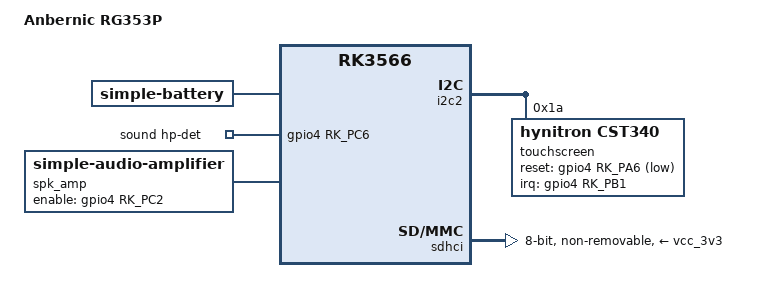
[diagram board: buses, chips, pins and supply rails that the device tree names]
// SPDX-License-Identifier: (GPL-2.0+ OR MIT)
/*
 * RexOS Device Tree for Anbernic RG353P
 *
 * Based on mainline Linux kernel device tree by Chris Morgan
 * Adapted for RexOS by the RexOS project
 *
 * RG353P specific hardware:
 * - Dual analog sticks (left and right)
 * - Thumbstick click buttons (L3/R3)
 * - 3472mAh battery
 * - eMMC storage (32GB)
 * - Touchscreen (Hynitron CST340)
 * - RK817 audio codec with speaker amplifier
 */

/dts-v1/;

#include <dt-bindings/gpio/gpio.h>
#include <dt-bindings/input/linux-event-codes.h>
#include <dt-bindings/pinctrl/rockchip.h>
#include "rk3566-anbernic-rg353x.dtsi"

/ {
	model = "Anbernic RG353P";
	compatible = "anbernic,rg353p", "rockchip,rk3566";

	aliases {
		mmc0 = &sdmmc0;
		mmc1 = &sdmmc1;
		mmc2 = &sdmmc2;
	};

	/* Battery configuration for RG353P (3472mAh) */
	battery: battery {
		compatible = "simple-battery";
		charge-full-design-microamp-hours = <3472000>;
		charge-term-current-microamp = <300000>;
		constant-charge-current-max-microamp = <2000000>;
		constant-charge-voltage-max-microvolt = <4200000>;
		factory-internal-resistance-micro-ohms = <117000>;
		voltage-max-design-microvolt = <4172000>;
		voltage-min-design-microvolt = <3400000>;

		ocv-capacity-celsius = <20>;
		ocv-capacity-table-0 =
			<4172000 100>, <4054000 95>, <3984000 90>, <3926000 85>,
			<3874000 80>, <3826000 75>, <3783000 70>, <3746000 65>,
			<3714000 60>, <3683000 55>, <3650000 50>, <3628000 45>,
			<3612000 40>, <3600000 35>, <3587000 30>, <3571000 25>,
			<3552000 20>, <3525000 15>, <3492000 10>, <3446000 5>,
			<3400000 0>;
	};

	/* Audio configuration */
	sound {
		compatible = "simple-audio-card";
		simple-audio-card,name = "rk817_ext";
		simple-audio-card,aux-devs = <&spk_amp>;
		simple-audio-card,format = "i2s";
		simple-audio-card,hp-det-gpios = <&gpio4 RK_PC6 GPIO_ACTIVE_HIGH>;
		simple-audio-card,mclk-fs = <256>;
		simple-audio-card,widgets =
			"Microphone", "Mic Jack",
			"Headphone", "Headphones",
			"Speaker", "Internal Speakers";
		simple-audio-card,routing =
			"MICL", "Mic Jack",
			"Headphones", "HPOL",
			"Headphones", "HPOR",
			"Internal Speakers", "Speaker Amp OUTL",
			"Internal Speakers", "Speaker Amp OUTR",
			"Speaker Amp INL", "HPOL",
			"Speaker Amp INR", "HPOR";
		simple-audio-card,pin-switches = "Internal Speakers";

		simple-audio-card,codec {
			sound-dai = <&rk817>;
		};

		simple-audio-card,cpu {
			sound-dai = <&i2s1_8ch>;
		};
	};

	/* Speaker amplifier */
	spk_amp: audio-amplifier {
		compatible = "simple-audio-amplifier";
		enable-gpios = <&gpio4 RK_PC2 GPIO_ACTIVE_HIGH>;
		pinctrl-0 = <&spk_amp_enable_h>;
		pinctrl-names = "default";
		sound-name-prefix = "Speaker Amp";
	};
};

/* GPIO buttons - RG353P has dual analog with stick clicks */
&gpio_keys_control {
	/* R1 shoulder button */
	button-r1 {
		gpios = <&gpio3 RK_PB4 GPIO_ACTIVE_LOW>;
		label = "TR";
		linux,code = <BTN_TR>;
	};

	/* R2 trigger button */
	button-r2 {
		gpios = <&gpio3 RK_PB3 GPIO_ACTIVE_LOW>;
		label = "TR2";
		linux,code = <BTN_TR2>;
	};
};

/* I2C2 - Touchscreen (Hynitron CST340) */
&i2c2 {
	pinctrl-0 = <&i2c2m1_xfer>;
	pinctrl-names = "default";
	status = "okay";

	touchscreen@1a {
		compatible = "hynitron,cst340";
		reg = <0x1a>;
		interrupt-parent = <&gpio4>;
		interrupts = <RK_PB1 IRQ_TYPE_EDGE_FALLING>;
		pinctrl-0 = <&touch_rst>;
		pinctrl-names = "default";
		reset-gpios = <&gpio4 RK_PA6 GPIO_ACTIVE_LOW>;
		touchscreen-size-x = <640>;
		touchscreen-size-y = <480>;
	};
};

&pinctrl {
	audio-amplifier {
		spk_amp_enable_h: spk-amp-enable-h {
			rockchip,pins =
				<4 RK_PC2 RK_FUNC_GPIO &pcfg_pull_none>;
		};
	};

	touchscreen {
		touch_rst: touch-rst {
			rockchip,pins =
				<4 RK_PA6 RK_FUNC_GPIO &pcfg_pull_up>;
		};
	};
};

/* RK817 charger configuration */
&rk817 {
	rk817_charger: charger {
		monitored-battery = <&battery>;
		rockchip,resistor-sense-micro-ohms = <10000>;
		rockchip,sleep-enter-current-microamp = <300000>;
		rockchip,sleep-filter-current-microamp = <100000>;
	};
};

/* eMMC storage - RG353P has 32GB internal eMMC */
&sdhci {
	bus-width = <8>;
	mmc-hs200-1_8v;
	non-removable;
	pinctrl-0 = <&emmc_bus8>, <&emmc_clk>, <&emmc_cmd>,
		    <&emmc_datastrobe>;
	pinctrl-names = "default";
	vmmc-supply = <&vcc_3v3>;
	vqmmc-supply = <&vcc_1v8>;
	status = "okay";
};
